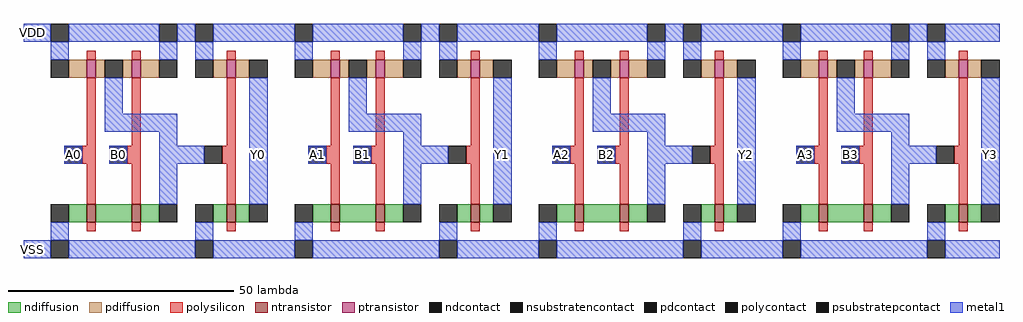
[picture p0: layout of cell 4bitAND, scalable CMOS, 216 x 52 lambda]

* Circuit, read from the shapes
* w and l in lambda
.subckt 4bitAND A0 A1 A2 A3 B0 B1 B2 B3 VDD VSS Y0 Y1 Y2 Y3
M1 n1 A0 VSS VSS nfet w=4 l=2
M2 2AND_0/INV B0 n1 VSS nfet w=4 l=2
M3 Y0 2AND_0/INV VSS VSS nfet w=4 l=2
M4 n2 A1 VSS VSS nfet w=4 l=2
M5 2AND_1/INV B1 n2 VSS nfet w=4 l=2
M6 Y1 2AND_1/INV VSS VSS nfet w=4 l=2
M7 n3 A2 VSS VSS nfet w=4 l=2
M8 2AND_2/INV B2 n3 VSS nfet w=4 l=2
M9 Y2 2AND_2/INV VSS VSS nfet w=4 l=2
M10 n4 A3 VSS VSS nfet w=4 l=2
M11 2AND_3/INV B3 n4 VSS nfet w=4 l=2
M12 Y3 2AND_3/INV VSS VSS nfet w=4 l=2
M13 2AND_0/INV A0 VDD VDD pfet w=4 l=2
M14 VDD B0 2AND_0/INV VDD pfet w=4 l=2
M15 Y0 2AND_0/INV VDD VDD pfet w=4 l=2
M16 2AND_1/INV A1 VDD VDD pfet w=4 l=2
M17 VDD B1 2AND_1/INV VDD pfet w=4 l=2
M18 Y1 2AND_1/INV VDD VDD pfet w=4 l=2
M19 2AND_2/INV A2 VDD VDD pfet w=4 l=2
M20 VDD B2 2AND_2/INV VDD pfet w=4 l=2
M21 Y2 2AND_2/INV VDD VDD pfet w=4 l=2
M22 2AND_3/INV A3 VDD VDD pfet w=4 l=2
M23 VDD B3 2AND_3/INV VDD pfet w=4 l=2
M24 Y3 2AND_3/INV VDD VDD pfet w=4 l=2
.ends

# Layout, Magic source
magic
tech scmos
<< metal1 >>
rect -4 48 0 52
rect 5 21 9 25
rect 15 21 19 25
rect 46 21 50 25
rect 59 21 63 25
rect 69 21 73 25
rect 100 21 104 25
rect 113 21 117 25
rect 123 21 127 25
rect 154 21 158 25
rect 167 21 171 25
rect 177 21 181 25
rect 208 21 212 25
rect -4 0 0 4
use 2AND  2AND_0
transform 1 0 -2 0 1 0
box -2 0 52 52
use 2AND  2AND_1
transform 1 0 52 0 1 0
box -2 0 52 52
use 2AND  2AND_2
transform 1 0 106 0 1 0
box -2 0 52 52
use 2AND  2AND_3
transform 1 0 160 0 1 0
box -2 0 52 52
<< labels >>
rlabel metal1 7 23 7 23 1 A0
rlabel metal1 17 23 17 23 1 B0
rlabel metal1 48 23 48 23 1 Y0
rlabel metal1 61 23 61 23 1 A1
rlabel metal1 71 23 71 23 1 B1
rlabel metal1 102 23 102 23 1 Y1
rlabel metal1 115 23 115 23 1 A2
rlabel metal1 125 23 125 23 1 B2
rlabel metal1 156 23 156 23 1 Y2
rlabel metal1 169 23 169 23 1 A3
rlabel metal1 179 23 179 23 1 B3
rlabel metal1 210 23 210 23 7 Y3
rlabel metal1 -2 50 -2 50 4 VDD
rlabel metal1 -2 2 -2 2 2 VSS
<< end >>

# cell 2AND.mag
magic
tech scmos
<< ntransistor >>
rect 12 8 14 12
rect 22 8 24 12
rect 43 8 45 12
<< ptransistor >>
rect 12 40 14 44
rect 22 40 24 44
rect 43 40 45 44
<< ndiffusion >>
rect 8 8 12 12
rect 14 8 22 12
rect 24 8 28 12
rect 40 8 43 12
rect 45 8 48 12
<< pdiffusion >>
rect 8 40 12 44
rect 14 40 16 44
rect 20 40 22 44
rect 24 40 28 44
rect 40 40 43 44
rect 45 40 48 44
<< ndcontact >>
rect 4 8 8 12
rect 28 8 32 12
rect 36 8 40 12
rect 48 8 52 12
<< pdcontact >>
rect 4 40 8 44
rect 16 40 20 44
rect 28 40 32 44
rect 36 40 40 44
rect 48 40 52 44
<< psubstratepcontact >>
rect 4 0 8 4
rect 36 0 40 4
<< nsubstratencontact >>
rect 4 48 8 52
rect 28 48 32 52
rect 36 48 40 52
<< polysilicon >>
rect 12 44 14 46
rect 22 44 24 46
rect 43 44 45 46
rect 12 25 14 40
rect 22 25 24 40
rect 43 25 45 40
rect 11 21 14 25
rect 21 21 24 25
rect 42 21 45 25
rect 12 12 14 21
rect 22 12 24 21
rect 43 12 45 21
rect 12 6 14 8
rect 22 6 24 8
rect 43 6 45 8
<< polycontact >>
rect 7 21 11 25
rect 17 21 21 25
rect 38 21 42 25
<< metal1 >>
rect -2 48 4 52
rect 8 48 28 52
rect 32 48 36 52
rect 40 48 52 52
rect 4 44 8 48
rect 28 44 32 48
rect 36 44 40 48
rect 16 32 20 40
rect 16 28 32 32
rect 28 25 32 28
rect 28 21 38 25
rect 28 12 32 21
rect 48 12 52 40
rect 4 4 8 8
rect 36 4 40 8
rect -2 0 4 4
rect 8 0 36 4
rect 40 0 52 4
<< labels >>
rlabel nsubstratencontact 38 50 38 50 1 VDD
rlabel psubstratepcontact 38 2 38 2 1 VSS
rlabel polycontact 40 23 40 23 1 INV
rlabel nsubstratencontact 30 50 30 50 1 VDD
rlabel psubstratepcontact 6 2 6 2 1 VSS
rlabel nsubstratencontact 6 50 6 50 1 VDD
rlabel polycontact 9 23 9 23 1 A
rlabel polycontact 19 23 19 23 1 B
rlabel metal1 50 23 50 23 7 Y
<< end >>
